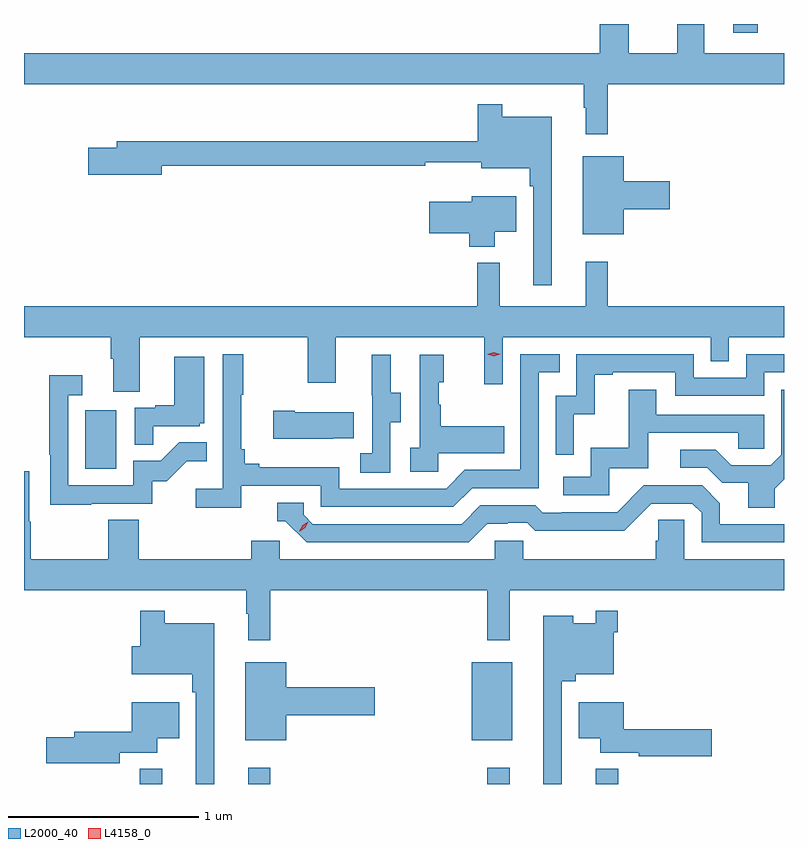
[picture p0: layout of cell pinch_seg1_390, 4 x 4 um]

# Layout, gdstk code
import gdstk
lib = gdstk.Library(unit=1e-6, precision=1e-09)
def R(c, l, rs):  # rectangles x0, y0, x1, y1
    for r in rs: c.add(gdstk.rectangle(r[:2], r[2:], *l))
def P(c, l, *ps):  # polygons
    for p in ps: c.add(gdstk.Polygon(p, *l))
L2000_40 = (2000, 40)
L4158_0 = (4158, 0)

pinch_seg1_390 = lib.new_cell('pinch_seg1_390')
R(pinch_seg1_390, L2000_40, [(988.783,526.737,988.901,526.817), (989.354,526.737,989.471,526.822), (990.613,526.737,990.731,526.822), (991.184,526.737,991.301,526.816), (990.53,526.967,990.745,527.377), (988.496,528.396,988.66,528.703), (991.907,530.691,992.035,530.737)])
P(pinch_seg1_390, L2000_40, [(991.247,530.42),(992.174,530.42),(992.174,530.584),(991.753,530.584),(991.753,530.737),(991.613,530.737),(991.613,530.584),(991.357,530.584),(991.357,530.737),(991.205,530.737),(991.205,530.584),(988.174,530.584),(988.174,530.42),(991.119,530.42),(991.119,530.297),(991.13,530.297),(991.13,530.157),(991.247,530.157)],
  [(990.952,530.248),(990.691,530.248),(990.691,530.314),(990.562,530.314),(990.562,530.119),(988.661,530.119),(988.661,530.085),(988.512,530.085),(988.512,529.943),(988.9,529.943),(988.9,529.99),(990.285,529.99),(990.285,530.009),(990.581,530.009),(990.581,529.979),(990.835,529.979),(990.835,529.883),(990.855,529.883),(990.855,529.362),(990.952,529.362)],
  [(991.33,529.763),(991.573,529.763),(991.573,529.91),(991.33,529.91),(991.33,530.041),(991.115,530.041),(991.115,529.631),(991.33,529.631)],
  [(990.652,529.643),(990.766,529.643),(990.766,529.831),(990.53,529.831),(990.53,529.801),(990.306,529.801),(990.306,529.636),(990.518,529.636),(990.518,529.565),(990.652,529.565)],
  [(988.783,529.088),(989.668,529.088),(989.668,528.849),(989.815,528.849),(989.815,529.088),(990.596,529.088),(990.596,528.84),(990.693,528.84),(990.693,529.088),(991.788,529.088),(991.788,528.961),(991.884,528.961),(991.884,529.088),(992.174,529.088),(992.174,529.252),(991.247,529.252),(991.247,529.486),(991.13,529.486),(991.13,529.252),(990.677,529.252),(990.677,529.48),(990.559,529.48),(990.559,529.252),(988.174,529.252),(988.174,529.088),(988.631,529.088),(988.631,528.976),(988.643,528.976),(988.643,528.802),(988.783,528.802)],
  [(989.318,528.306),(989.736,528.306),(989.736,528.195),(990.433,528.195),(990.532,528.294),(990.882,528.294),(990.882,528.903),(990.995,528.903),(990.995,528.999),(990.786,528.999),(990.786,528.39),(990.495,528.39),(990.396,528.291),(989.832,528.291),(989.832,528.403),(989.413,528.403),(989.413,528.422),(989.336,528.422),(989.336,528.499),(989.317,528.499),(989.317,528.787),(989.329,528.787),(989.329,529),(989.22,529),(989.22,528.292),(989.079,528.292),(989.079,528.19),(989.318,528.19)],
  [(991.068,528.683),(991.178,528.683),(991.178,528.891),(991.273,528.891),(991.273,528.903),(991.602,528.903),(991.602,528.78),(992.07,528.78),(992.07,528.903),(992.174,528.903),(992.174,528.999),(991.974,528.999),(991.974,528.876),(991.698,528.876),(991.698,528.999),(991.08,528.999),(991.08,528.78),(990.972,528.78),(990.972,528.471),(991.068,528.471)],
  [(990.102,528.64),(990.157,528.64),(990.157,528.795),(990.103,528.795),(990.103,528.997),(990.005,528.997),(990.005,528.783),(990.006,528.783),(990.006,528.479),(989.943,528.479),(989.943,528.376),(990.102,528.376)],
  [(990.354,528.479),(990.701,528.479),(990.701,528.619),(990.367,528.619),(990.367,528.734),(990.357,528.734),(990.357,528.852),(990.382,528.852),(990.382,528.997),(990.258,528.997),(990.258,528.506),(990.207,528.506),(990.207,528.381),(990.354,528.381)],
  [(988.853,528.621),(989.1,528.621),(989.1,528.636),(989.122,528.636),(989.122,528.985),(988.964,528.985),(988.964,528.73),(988.865,528.73),(988.865,528.717),(988.758,528.717),(988.758,528.523),(988.853,528.523)],
  [(988.529,528.213),(988.848,528.213),(988.848,528.33),(988.924,528.33),(989.031,528.437),(989.135,528.437),(989.135,528.536),(988.991,528.536),(988.893,528.438),(988.749,528.438),(988.749,528.309),(988.407,528.309),(988.407,528.783),(988.48,528.783),(988.48,528.889),(988.306,528.889),(988.306,528.469),(988.311,528.469),(988.311,528.208),(988.529,528.208)],
  [(992.125,528.292),(992.174,528.341),(992.174,528.811),(992.16,528.811),(992.16,528.471),(992.103,528.414),(991.897,528.414),(991.816,528.495),(991.629,528.495),(991.629,528.402),(991.77,528.402),(991.85,528.322),(991.985,528.322),(991.985,528.19),(992.125,528.19)],
  [(991.254,528.399),(991.459,528.399),(991.459,528.585),(991.933,528.585),(991.933,528.501),(992.07,528.501),(992.07,528.681),(991.501,528.681),(991.501,528.811),(991.357,528.811),(991.357,528.508),(991.158,528.508),(991.158,528.354),(991.011,528.354),(991.011,528.258),(991.254,528.258)],
  [(989.801,528.557),(989.909,528.557),(989.909,528.694),(989.599,528.694),(989.599,528.702),(989.487,528.702),(989.487,528.554),(989.801,528.554)],
  [(989.471,527.756),(990.613,527.756),(990.613,527.493),(990.73,527.493),(990.73,527.756),(992.174,527.756),(992.174,527.92),(991.65,527.92),(991.65,528.128),(991.513,528.128),(991.513,528.018),(991.499,528.018),(991.499,527.92),(990.801,527.92),(990.801,528.018),(990.651,528.018),(990.651,527.92),(989.52,527.92),(989.52,528.018),(989.369,528.018),(989.369,527.92),(988.778,527.92),(988.778,528.128),(988.618,528.128),(988.618,527.92),(988.209,527.92),(988.209,528.116),(988.201,528.116),(988.201,528.382),(988.174,528.382),(988.174,527.756),(989.343,527.756),(989.343,527.633),(989.354,527.633),(989.354,527.493),(989.471,527.493)],
  [(990.613,528.108),(990.72,528.108),(990.72,528.111),(990.823,528.111),(990.865,528.069),(991.098,528.069),(991.098,528.071),(991.334,528.071),(991.476,528.213),(991.692,528.213),(991.74,528.165),(991.74,528.009),(992.174,528.009),(992.174,528.105),(991.837,528.105),(991.837,528.215),(991.743,528.309),(991.437,528.309),(991.296,528.168),(991.003,528.168),(991.003,528.165),(990.904,528.165),(990.865,528.204),(990.576,528.204),(990.477,528.105),(989.694,528.105),(989.646,528.153),(989.646,528.216),(989.507,528.216),(989.507,528.12),(989.55,528.12),(989.661,528.009),(990.514,528.009)],
  [(991.005,527.279),(991.079,527.279),(991.079,527.315),(991.278,527.315),(991.278,527.537),(991.298,527.537),(991.298,527.65),(991.182,527.65),(991.182,527.584),(991.066,527.584),(991.066,527.623),(990.908,527.623),(990.908,526.737),(991.005,526.737)],
  [(989.176,527.584),(988.915,527.584),(988.915,527.65),(988.786,527.65),(988.786,527.463),(988.742,527.463),(988.742,527.315),(989.059,527.315),(989.059,527.219),(989.079,527.219),(989.079,526.737),(989.176,526.737)],
  [(989.554,527.099),(990.019,527.099),(990.019,527.246),(989.554,527.246),(989.554,527.377),(989.339,527.377),(989.339,526.967),(989.554,526.967)],
  [(991.795,527.024),(991.33,527.024),(991.33,527.167),(991.094,527.167),(991.094,526.979),(991.208,526.979),(991.208,526.901),(991.41,526.901),(991.41,526.882),(991.795,526.882)],
  [(988.678,526.902),(988.876,526.902),(988.876,526.979),(988.99,526.979),(988.99,527.167),(988.742,527.167),(988.742,527.011),(988.439,527.011),(988.439,526.982),(988.29,526.982),(988.29,526.847),(988.678,526.847)])
P(pinch_seg1_390, L4158_0, [(989.623,528.067),(989.623,528.067),(989.64,528.099),(989.671,528.118),(989.671,528.118),(989.671,528.118),(989.655,528.086),(989.624,528.067)],
  [(990.646,528.989),(990.611,528.999),(990.611,528.999),(990.611,529),(990.646,529.009),(990.681,529),(990.681,528.999),(990.681,528.999)])

lib.write_gds('pinch_seg1_390.gds')
